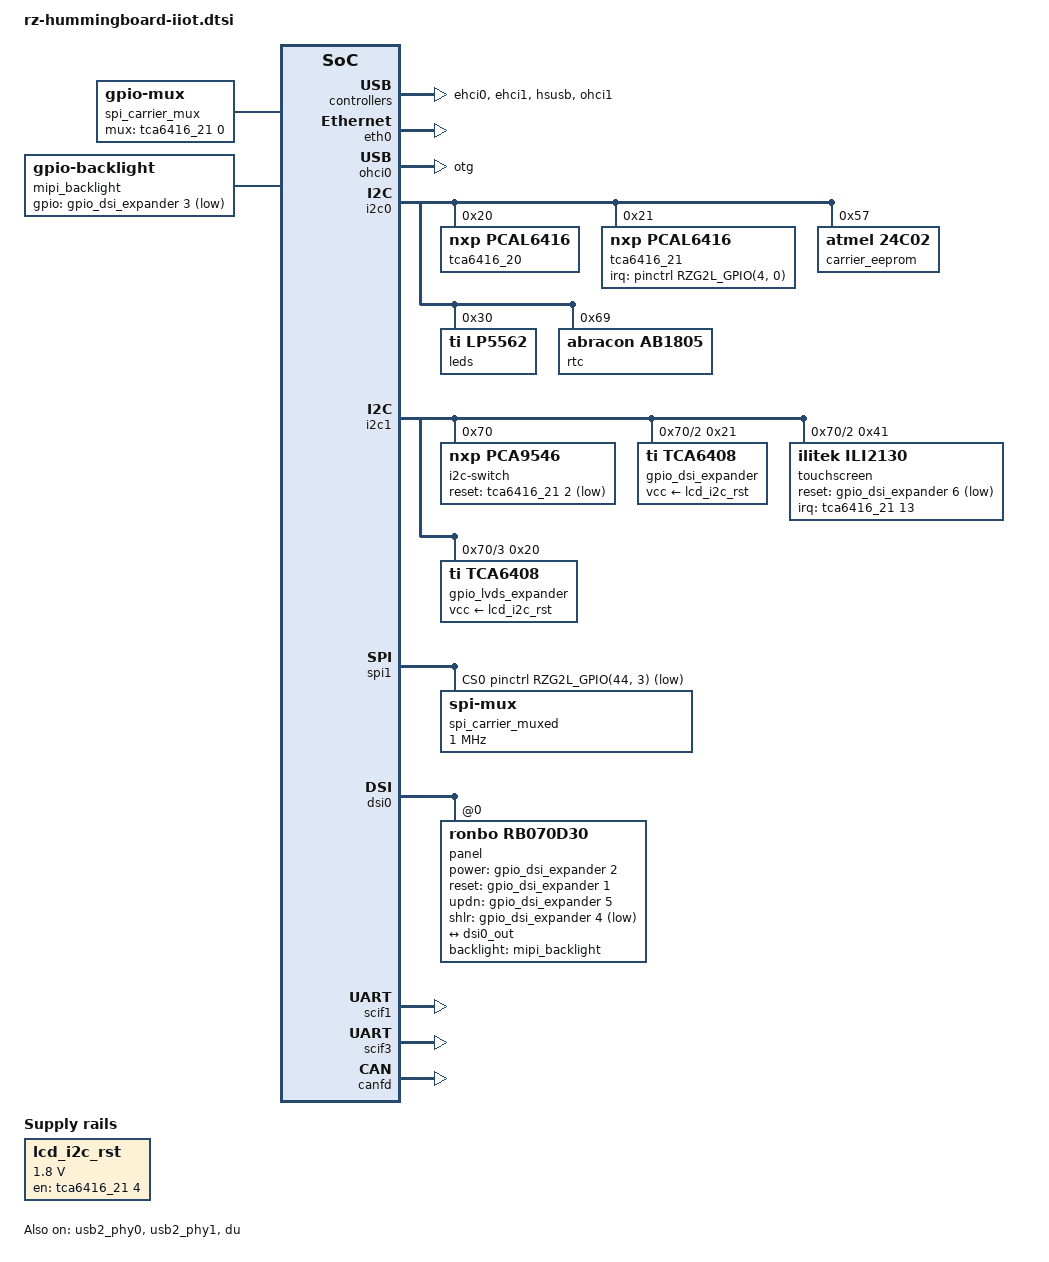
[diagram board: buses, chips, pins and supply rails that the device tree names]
// SPDX-License-Identifier: (GPL-2.0-only OR BSD-2-Clause)
/*
* Device Tree Source for the RZ Solidrun HummingBoard IIoT
*
* Copyright (C) 2024 SolidRun Ltd.
*/

#include <dt-bindings/gpio/gpio.h>
#include <dt-bindings/pinctrl/rzg2l-pinctrl.h>
#include <dt-bindings/leds/common.h>

/ {
	spi_carrier_mux: spi_carrier_mux {
		compatible = "gpio-mux";
		#mux-control-cells = <0>;
		mux-gpios = <&tca6416_21 0 GPIO_ACTIVE_HIGH>;
		// idle-state = <0>;
	};


	lcd_i2c_rst: lcd_i2c_rst {
		compatible = "regulator-fixed";
		regulator-name = "lcd_i2c_rst";
		regulator-min-microvolt = <1800000>;
		regulator-max-microvolt = <1800000>;
		gpio = <&tca6416_21 4 GPIO_ACTIVE_HIGH>;
		enable-active-high;
	};

	mipi_backlight: backlight {
		compatible = "gpio-backlight";
		gpios = <&gpio_dsi_expander 3 GPIO_ACTIVE_LOW>;
		default-on;
	};
};

&pinctrl {
	spi1_pins_no_ss: spi1_no_ss {
			pinmux = <RZG2L_PORT_PINMUX(44, 0, 1)>, /* CK */
			<RZG2L_PORT_PINMUX(44, 1, 1)>, /* MOSI */
			<RZG2L_PORT_PINMUX(44, 2, 1)>; /* MISO */
		};
};

&ehci0 {
	spurious-oc;
	status = "okay";
};

&ehci1 {
	spurious-oc;
	status = "okay";
};

&eth0 {
	status = "okay";
};

&hsusb {
	status = "okay";
};

&ohci0 {
	spurious-oc;
	dr_mode = "otg";
	status = "okay";
};

&ohci1 {
	spurious-oc;
	status = "okay";
};

&usb2_phy0 {
	status = "okay";
};

&usb2_phy1 {
	status = "okay";
};

&sdhi0_pwr_en_gpio {
	/delete-property/ output-high;
	output-low;
};

// Carrier I2C3
&i2c0 {
	status = "okay";

	tca6416_20: gpio@20 {
		compatible = "nxp,pcal6416";
		reg = <0x20>;
		gpio-controller;
		#gpio-cells = <2>;
		gpio-line-names =
		"TCA_INT/EXT_UART",
		"TCA_UARTA_232/485",
		"TCA_UARTB_232/485",
		"TCA_INT/EXT_CAN",
		"TCA_NXP/REN",
		"TCA_M.2B_3V3_EN",
		"TCA_M.2M_3V3_EN",
		"TCA_M.2M_RESET#",
		"TCA_M.2B_RESET#",
		"TCA_M.2B_W_DIS#",
		"TCA_M.2B_GPS_EN#",
		"TCA_USB-HUB_RST#",
		"TCA_USB_HUB3_PWR_EN",
		"TCA_USB_HUB4_PWR_EN",
		"TCA_USB1_PWR_EN",
		"TCA_VIDEO_PWR_EN";

		TCA_VIDEO_PWR_EN {
			gpio-hog;
			gpios = <15 GPIO_ACTIVE_HIGH>;
			output-high;
			line-name = "TCA_VIDEO_PWR_EN";
		};
	};

	tca6416_21: gpio@21 {
		compatible = "nxp,pcal6416";
		reg = <0x21>;
		gpio-controller;
		#gpio-cells = <2>;
		interrupt-controller;
		#interrupt-cells = <2>;
		interrupt-parent = <&pinctrl>;
		interrupts = <RZG2L_GPIO(4, 0) IRQ_TYPE_LEVEL_LOW>;
		gpio-line-names =
		"TCA_SPI_TPM/EXT",
		"TCA_TPM_RST#",
		"TCA_I2C_RST",
		"TCA_RS232_SHTD#",
		"TCA_LCD_I2C_RST",
		"TCA_DIG_OUT1",
		"TCA_bDIG_IN1",
		"TCA_SENS_INT",
		"TCA_ALERT#",
		"TCA_TPM_PIRQ#",
		"TCA_RTC_INT",
		"TCA_M.2M_WAKW_ON_LAN",
		"TCA_M.2M_CLKREQ#",
		"TCA_LVDS_INT#",
		"TCA_NC",
		"TCA_POE_AT";
	};

	carrier_eeprom: at24c02@57 {
		compatible = "atmel,24c02";
		reg = <0x57>;
	};

	leds: led-controller@30 {
		compatible = "ti,lp5562";
		reg = <0x30>;
		clock-mode = /bits/ 8 <1>;
		#address-cells = <1>;
		#size-cells = <0>;
		pwr-sel = <0>;

		chan@0 {
			chan-name = "R";
			led-cur = /bits/ 8 <0x20>;
			max-cur = /bits/ 8 <0x60>;
			reg = <0>;
			color = <LED_COLOR_ID_RED>;
		};

		chan@1 {
			chan-name = "G";
			led-cur = /bits/ 8 <0x20>;
			max-cur = /bits/ 8 <0x60>;
			reg = <1>;
			color = <LED_COLOR_ID_GREEN>;
		};

		chan@2 {
			chan-name = "B";
			led-cur = /bits/ 8 <0x20>;
			max-cur = /bits/ 8 <0x60>;
			reg = <2>;
			color = <LED_COLOR_ID_BLUE>;
		};

		chan@3 {
			chan-name = "D8";
			led-cur = /bits/ 8 <0x20>;
			max-cur = /bits/ 8 <0x60>;
			reg = <3>;
			color = <LED_COLOR_ID_GREEN>;
		};
	};

	rtc: am1805@69 {
		compatible = "abracon,ab1805";
		reg = <0x69>;
		abracon,tc-diode = "schottky";
		abracon,tc-resistor = <3>;
	};

	charger: battery-charger@68 {
		// Not assembled
		status = "disabled";
		compatible = "lltc,ltc4162-l";
		reg = <0x68>;
		// lltc,rsnsb-micro-ohms = <10000>;
		// lltc,rsnsi-micro-ohms = <16000>;
		// lltc,cell-count = <2>;
	};

	accelerometer: accelerometer@2a {
		// Not assembled
		status = "disabled";
		compatible = "adi,adxl345";
		reg = <0x53>;
		interrupt-parent = <&tca6416_21>;
		interrupts = <7 IRQ_TYPE_LEVEL_HIGH>;
	};

	ambient_light: ambient_light@44 {
		// Not assembled
		status = "disabled";
		compatible = "isil,isl29023";
		reg = <0x44>;
		interrupt-parent = <&tca6416_21>;
		interrupts = <7 IRQ_TYPE_LEVEL_HIGH>;
	};
};

// Carrier I2C2
&i2c1{
	i2c-switch@70 {
		compatible = "nxp,pca9546";
		reg = <0x70>;
		#address-cells = <1>;
		#size-cells = <0>;
		reset-gpios = <&tca6416_21 2 GPIO_ACTIVE_LOW>;

		i2c_ext: i2c@0 {
			#address-cells = <1>;
			#size-cells = <0>;
			reg = <0>;
		};

		i2c_csi: i2c@1 {
			#address-cells = <1>;
			#size-cells = <0>;
			reg = <1>;
		};

		i2c_dsi: i2c@2 {
			#address-cells = <1>;
			#size-cells = <0>;
			reg = <2>;

			gpio_dsi_expander: tca6408@21 {
				compatible = "ti,tca6408";
				reg = <0x21>;
				gpio-controller;
				#gpio-cells = <2>;
				vcc-supply = <&lcd_i2c_rst>;
				gpio-line-names =
				"NC",
				"DSI_RESET",
				"DSI_STBYB",
				"DSI_PWM_BL",
				"DSI_L/R",
				"DSI_U/D",
				"DSI_CTP_/RST",
				"NC";
			};

			touchscreen@41 {
				/* ili2130 part of the Winstart Display WJ70N3TYJHMNG0 */
				compatible = "ilitek,ili2130";
				reg = <0x41>;
				interrupt-parent = <&tca6416_21>;
				interrupts = <13 IRQ_TYPE_EDGE_FALLING>;// <13 IRQ_TYPE_LEVEL_LOW>;
				reset-gpios = <&gpio_dsi_expander 6 GPIO_ACTIVE_LOW>; // DSI_CTP/RST U48_P[6] (External Reset, Low is active)
			};
		};

		i2c_lvds: i2c@3 {
			#address-cells = <1>;
			#size-cells = <0>;
			reg = <3>;

			gpio_lvds_expander: tca6408@20 {
				compatible = "ti,tca6408";
				reg = <0x20>;
				gpio-controller;
				#gpio-cells = <2>;
				vcc-supply = <&lcd_i2c_rst>;
				gpio-line-names =
				"SELB",
				"LVDS_RESET",
				"LVDS_STBYB",
				"LVDS_PWM_BL",
				"LVDS_L/R",
				"LVDS_U/D",
				"LVDS_CTP_/RST",
				"NC";
			};
		};
	};

	/* usb_hub: CYUSB3304@60 {}; */
};

&spi1 {
	pinctrl-0 = <&spi1_pins_no_ss>;
	pinctrl-names = "default";
	status = "okay";
	cs-gpios = <&pinctrl RZG2L_GPIO(44, 3) GPIO_ACTIVE_LOW>;

	spi_carrier_muxed: spi_carrier@0 {
		compatible = "spi-mux";
		reg = <0>;
		#address-cells = <1>;
		#size-cells = <0>;
		spi-max-frequency = <1000000>;
		mux-controls = <&spi_carrier_mux>;

		spi_carrier_tpm: tpm@0 {
			compatible = "infineon,slb9670", "tcg,tpm_tis-spi";
			reg = <0>;
			spi-max-frequency = <1000000>;
		};

		spi_carrier_conn: spi_carrier_conn@1 {
			status = "disabled";
			compatible = "spidev";
			reg = <1>;
		};
	};
};

&dsi0 {
	status = "okay";
	panel@0 {
		compatible = "ronbo,rb070d30";
		reg = <0>;
		
		power-gpios = <&gpio_dsi_expander 2 GPIO_ACTIVE_HIGH>;
		reset-gpios = <&gpio_dsi_expander 1 GPIO_ACTIVE_HIGH>;
		updn-gpios = <&gpio_dsi_expander 5 GPIO_ACTIVE_HIGH>;
		shlr-gpios = <&gpio_dsi_expander 4 GPIO_ACTIVE_LOW>;
		backlight = <&mipi_backlight>;

		port {
			dsi_in_panel: endpoint {
				remote-endpoint = <&dsi0_out>;
			};
		};
	};
};

&dsi0_out {
	remote-endpoint = <&dsi_in_panel>;
	data-lanes = <1 2 3 4>;
};

&du {
	status = "okay";
};

&scif1 {
	pinctrl-0 = <&scif1_pins_no_hw_flow>;
	pinctrl-names = "default";
	status = "okay";
};

&scif3 {
	pinctrl-0 = <&scif3_pins>;
	pinctrl-names = "default";
	status = "okay";
};

&canfd {
	pinctrl-names = "default";
	pinctrl-0 = <&can0_pins_iiot &can1_pins_iiot>;
	status = "okay";
	channel0 {
		renesas,channel = <0>;
		status = "okay";
	};
	channel1 {
		renesas,channel = <1>;
		status = "okay";
	};
};
